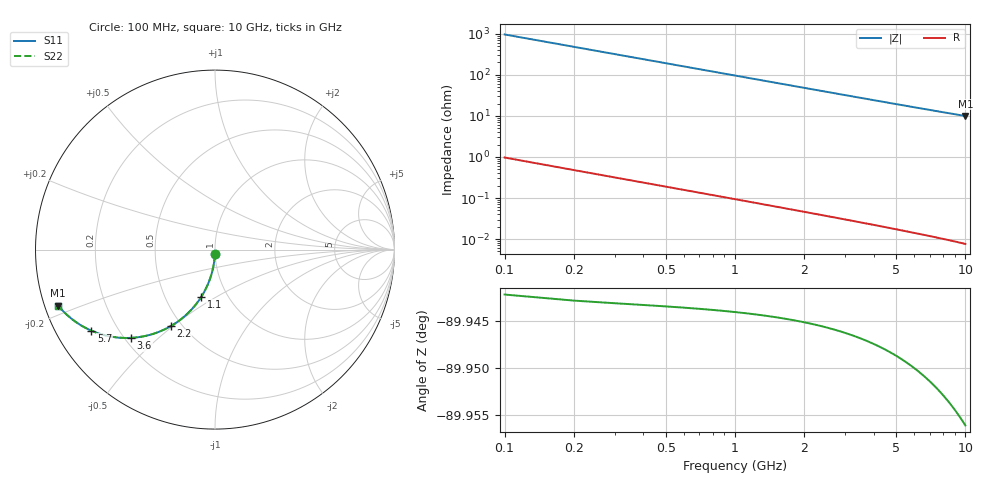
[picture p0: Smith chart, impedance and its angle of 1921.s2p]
# Hz S RI R 50.00
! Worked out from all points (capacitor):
!   100 points, 100 MHz to 10 GHz, reference 50 ohm
!   read as one part in shunt: C = 1.65 pF near 100 MHz
!   lowest |Z| = 9.97 ohm at 10 GHz (marker M1)
!   S11 on the Smith chart (normalised r, x): 100 MHz: 1.00, -0.05; 1.1 GHz: 0.76, -0.43; 2.2 GHz: 0.44, -0.49; 3.6 GHz: 0.23, -0.41; 5.7 GHz: 0.11, -0.30; 10 GHz: 0.04, -0.17
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1e8  -0.000609 -0.0258  0.9992 -0.0261  0.9992 -0.0261  -0.000609 -0.0258
2e8  -0.00265 -0.0514  0.9972 -0.0522  0.9972 -0.0522  -0.00265 -0.0514
3e8  -0.00602 -0.0769  0.9938 -0.078  0.9938 -0.078  -0.00602 -0.0769
4e8  -0.0107 -0.102  0.9891 -0.1035  0.9891 -0.1035  -0.0107 -0.102
5e8  -0.0166 -0.1268  0.9832 -0.1286  0.9832 -0.1286  -0.0166 -0.1268
6e8  -0.0238 -0.151  0.976 -0.1533  0.976 -0.1533  -0.0238 -0.151
7e8  -0.0321 -0.1747  0.9677 -0.1773  0.9677 -0.1773  -0.0321 -0.1747
9e8  -0.0519 -0.2199  0.9479 -0.2233  0.9479 -0.2233  -0.0519 -0.2199
1.1e9  -0.0756 -0.262  0.9242 -0.2661  0.9242 -0.2661  -0.0756 -0.262
1.4e9  -0.117 -0.3185  0.8828 -0.3237  0.8828 -0.3237  -0.117 -0.3185
1.8e9  -0.1797 -0.3802  0.8201 -0.3869  0.8201 -0.3869  -0.1797 -0.3802
2.2e9  -0.2465 -0.4264  0.7532 -0.4347  0.7532 -0.4347  -0.2465 -0.4264
2.8e9  -0.3465 -0.4701  0.6533 -0.4806  0.6533 -0.4806  -0.3465 -0.4701
3.4e9  -0.4389 -0.4894  0.5609 -0.5021  0.5609 -0.5021  -0.4389 -0.4894
3.6e9  -0.4672 -0.4917  0.5325 -0.5052  0.5325 -0.5052  -0.4672 -0.4917
4.3e9  -0.556 -0.4882  0.4436 -0.5044  0.4436 -0.5044  -0.556 -0.4882
5.1e9  -0.6382 -0.4703  0.3614 -0.4895  0.3614 -0.4895  -0.6382 -0.4703
5.7e9  -0.6882 -0.4519  0.3114 -0.4734  0.3114 -0.4734  -0.6882 -0.4519
6.7e9  -0.7535 -0.4176  0.246 -0.443  0.246 -0.443  -0.7535 -0.4176
7.5e9  -0.7934 -0.3899  0.206 -0.4184  0.206 -0.4184  -0.7934 -0.3899
8.4e9  -0.8285 -0.36  0.1707 -0.3921  0.1707 -0.3921  -0.8285 -0.36
1e10  -0.8733 -0.3123  0.1257 -0.3508  0.1257 -0.3508  -0.8733 -0.3123
